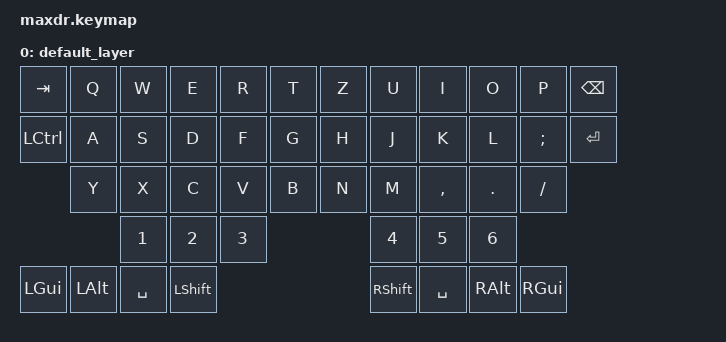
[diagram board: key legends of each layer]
#include <behaviors.dtsi>
#include <dt-bindings/zmk/keys.h>
#include <dt-bindings/zmk/bt.h>

// STARTER-Keymap zum Testen (QWERTZ-nah). Reihenfolge = Matrix-Map aus maxdr.dtsi.
// Die rechte Haelfte ist in der dtsi bereits entspiegelt -> hier ganz normal
// von links nach rechts lesen/anpassen. Eigene Belegung: https://zmk.dev/docs/keymaps
//
// Form pro Hand (Spalten-Stagger 2-3-4-4-4-3 + 4 Daumen):
//   Reihe0: 6 Tasten | Reihe1: 6 | Reihe2: 5 | Reihe3: 3 | Daumen: 4
/ {
    keymap {
        compatible = "zmk,keymap";

        default_layer {
            bindings = <
//  ---------- LINKE HAND ----------          ---------- RECHTE HAND ----------
    &kp TAB  &kp Q &kp W &kp E &kp R &kp T      &kp Z &kp U &kp I  &kp O   &kp P    &kp BSPC
    &kp LCTRL &kp A &kp S &kp D &kp F &kp G     &kp H &kp J &kp K  &kp L   &kp SEMI &kp ENTER
             &kp Y &kp X &kp C &kp V &kp B      &kp N &kp M &kp COMMA &kp DOT &kp FSLH
                   &kp N1 &kp N2 &kp N3                &kp N4 &kp N5 &kp N6
    &kp LGUI &kp LALT &kp SPACE &kp LSHFT       &kp RSHFT &kp SPACE &kp RALT &kp RGUI
            >;
        };
    };
};
